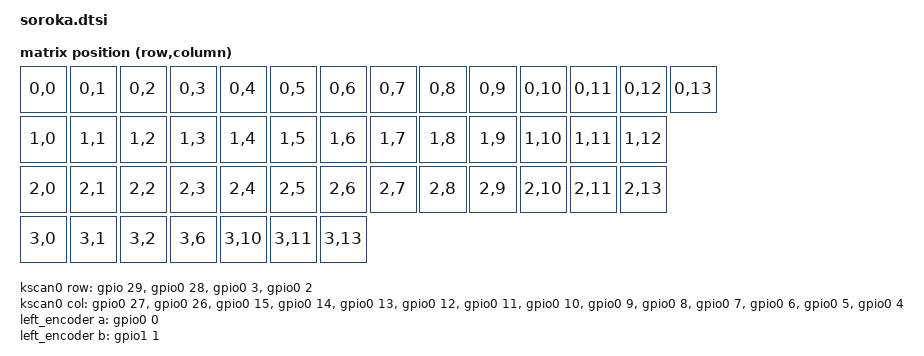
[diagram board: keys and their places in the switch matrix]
/*
 * Copyright (c) 2020 The ZMK Contributors
 *
 * SPDX-License-Identifier: MIT
 */

#include <dt-bindings/zmk/matrix_transform.h>

/ {
	chosen {
		zmk,kscan = &kscan0;
		zmk,matrix_transform = &default_transform;
	};

default_transform: keymap_transform_0 {
	compatible = "zmk,matrix-transform";
	columns = <14>;
	rows = <4>;

map = <
    RC(0,0) RC(0,1) RC(0,2) RC(0,3) RC(0,4) RC(0,5) RC(0,6) RC(0,7) RC(0,8) RC(0,9) RC(0,10) RC(0,11) RC(0,12) RC(0,13)
    RC(1,0) RC(1,1) RC(1,2) RC(1,3) RC(1,4) RC(1,5) RC(1,6) RC(1,7) RC(1,8) RC(1,9) RC(1,10) RC(1,11) RC(1,12)
    RC(2,0) RC(2,1) RC(2,2) RC(2,3) RC(2,4) RC(2,5) RC(2,6) RC(2,7) RC(2,8) RC(2,9) RC(2,10) RC(2,11) RC(2,13)
    RC(3,0) RC(3,1) RC(3,2) RC(3,6) RC(3,10) RC(3,11) RC(3,13)
    >;
    };

    kscan0: kscan_0 {
        compatible = "zmk,kscan-gpio-matrix";
        label = "KSCAN";
        diode-direction = "col2row";

        row-gpios 
            = <&gpio 29 GPIO_ACTIVE_HIGH>
            , <&gpio0 28 GPIO_ACTIVE_HIGH>
            , <&gpio0 3  GPIO_ACTIVE_HIGH>
            , <&gpio0 2  GPIO_ACTIVE_HIGH>
            ;

        col-gpios 
            = <&gpio0 27 GPIO_ACTIVE_HIGH>
            , <&gpio0 26 GPIO_ACTIVE_HIGH>
            , <&gpio0 15 GPIO_ACTIVE_HIGH>
            , <&gpio0 14 GPIO_ACTIVE_HIGH>
            , <&gpio0 13 GPIO_ACTIVE_HIGH>
            , <&gpio0 12 GPIO_ACTIVE_HIGH>
            , <&gpio0 11 GPIO_ACTIVE_HIGH>
            , <&gpio0 10 GPIO_ACTIVE_HIGH>
            , <&gpio0 9  GPIO_ACTIVE_HIGH>
            , <&gpio0 8  GPIO_ACTIVE_HIGH>
            , <&gpio0 7  GPIO_ACTIVE_HIGH>
            , <&gpio0 6  GPIO_ACTIVE_HIGH>
            , <&gpio0 5  GPIO_ACTIVE_HIGH>
            , <&gpio0 4  GPIO_ACTIVE_HIGH>
            ;
        };

        left_encoder: encoder_left {
            compatible = "alps,ec11";
            label = "LEFT_ENCODER";
            a-gpios = <&gpio0  0  (GPIO_ACTIVE_HIGH | GPIO_PULL_UP)>;
            b-gpios = <&gpio1  1  (GPIO_ACTIVE_HIGH | GPIO_PULL_UP)>;
            resolution = <4>;
            status = "disabled";
        };
    
    sensors {
        compatible = "zmk,keymap-sensors";
        sensors = <&left_encoder>;
    };
};
